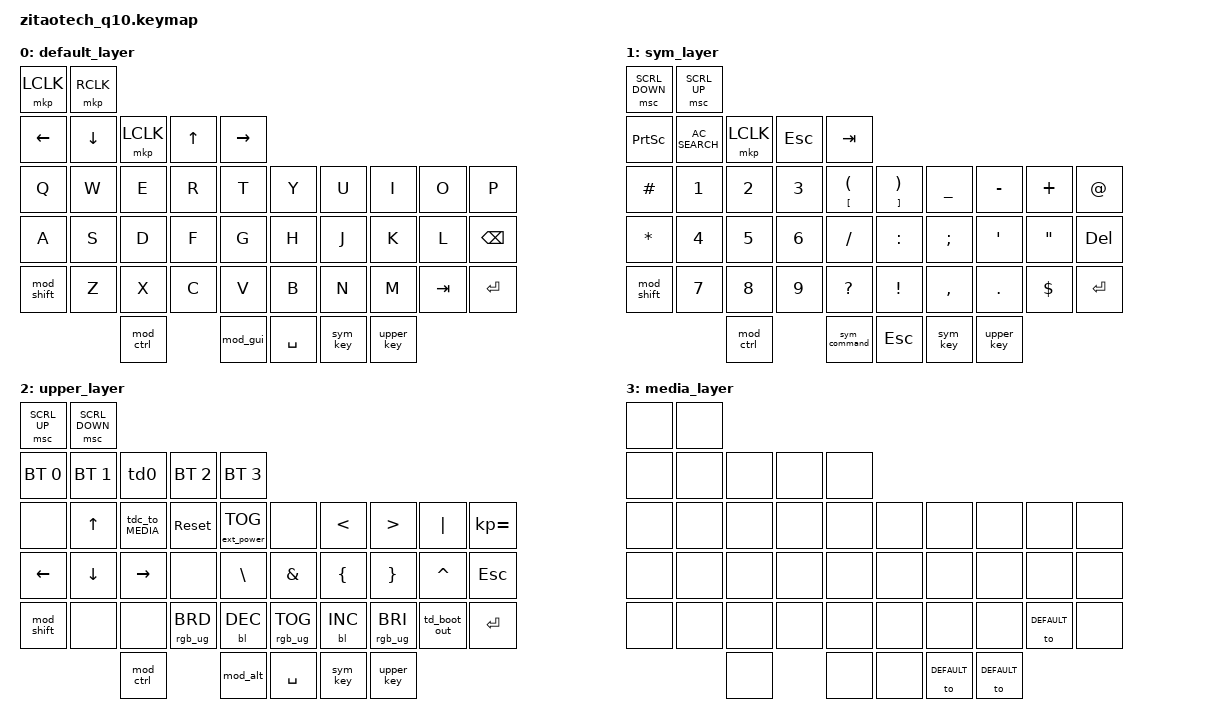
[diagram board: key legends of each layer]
/*
 * Copyright (c) 2023 ZitaoTech
 *
 * SPDX-License-Identifier: MIT
 */

#include <dt-bindings/zmk/mouse.h>
#include <zephyr/dt-bindings/input/input-event-codes.h>
#include <behaviors.dtsi>
#include <dt-bindings/zmk/backlight.h>
#include <dt-bindings/zmk/bt.h>
#include <dt-bindings/zmk/ext_power.h>
#include <dt-bindings/zmk/keys.h>
#include <dt-bindings/zmk/outputs.h>
#include <dt-bindings/zmk/pointing.h>
#include <dt-bindings/zmk/rgb.h>

#define DEFAULT 0
#define SYM 1
#define UPPER 2
#define MEDIA 3

#include "gestures.dtsi"

/ {
    behaviors {
        td0: tap_dance_0 {
            compatible = "zmk,behavior-tap-dance";
            #binding-cells = <0>;
            tapping-term-ms = <400>;
            bindings = <&mkp LCLK>, <&bt BT_CLR>;
        };

        td_boot_out: td_boot_out {
            compatible = "zmk,behavior-tap-dance";
            #binding-cells = <0>;
            tapping-term-ms = <400>;
            bindings = <&bootloader>, <&out OUT_TOG>;
        };

        tdc_to_MEDIA: td_mute_to_layer {
            compatible = "zmk,behavior-tap-dance";
            #binding-cells = <0>;
            tapping-term-ms = <400>;
            bindings = <&kp C_MUTE>, <&to MEDIA>;
        };
    };

    keymap {
        compatible = "zmk,keymap";

        default_layer {
            bindings = <
&mkp LCLK  &mkp RCLK
&kp LEFT   &kp DOWN_ARROW  &mkp LCLK  &kp UP_ARROW  &kp RIGHT_ARROW
&kp Q      &kp W         &kp E      &kp R           &kp T             &kp Y        &kp U             &kp I    &kp O          &kp P
&kp A      &kp S         &kp D      &kp F           &kp G             &kp H        &kp J             &kp K    &kp L          &kp BSPC
&mod_shift  &kp Z         &kp X      &kp C           &kp V             &kp B        &kp N             &kp M    &kp TAB  &kp ENTER
                         &mod_ctrl                  &mod_gui          &kp SPACE    &sym_key        &upper_key
            >;
        };

        sym_layer {
            bindings = <
&msc SCRL_DOWN  &msc SCRL_UP
&kp PSCRN       &kp C_AC_SEARCH  &mkp LCLK  &kp ESC  &kp TAB
&kp HASH        &kp N1           &kp N2     &kp N3   &mt LBKT LPAR  &mt RBKT RPAR    &kp UNDER  &kp MINUS  &kp PLUS       &kp AT
&kp STAR        &kp N4           &kp N5     &kp N6   &kp SLASH      &kp COLON        &kp SEMI   &kp APOS   &kp DQT        &kp DEL
&mod_shift      &kp N7           &kp N8     &kp N9   &kp QMARK      &kp EXCL         &kp COMMA  &kp DOT    &kp DLLR  &kp ENTER
                                 &mod_ctrl           &sym_command   &kp ESC          &sym_key  &upper_key
            >;
        };

        upper_layer {
            bindings = <
&msc SCRL_UP  &msc SCRL_DOWN
&bt BT_SEL 0  &bt BT_SEL 1    &td0       &bt BT_SEL 2     &bt BT_SEL 3
&none         &kp UP          &tdc_to_MEDIA  &sys_reset    &ext_power EP_TOG  &none              &kp LT      &kp GT           &kp PIPE      &kp KP_EQUAL
&kp LEFT      &kp DOWN        &kp RIGHT  &none            &kp BSLH           &kp AMPS           &kp LBRC    &kp RBRC         &kp CARET     &kp ESC
&mod_shift    &none           &none      &rgb_ug RGB_BRD  &bl BL_DEC         &rgb_ug RGB_TOG    &bl BL_INC  &rgb_ug RGB_BRI  &td_boot_out  &kp ENTER
                              &mod_ctrl                   &mod_alt           &kp SPACE          &sym_key  &upper_key
            >;
        };

        media_layer {
            bindings = <
&none  &none
&none  &none  &none  &none  &none
&none  &none  &none  &none  &none  &none    &none        &none        &none        &none
&none  &none  &none  &none  &none  &none    &none        &none        &none        &none
&none  &none  &none  &none  &none  &none    &none        &none        &to DEFAULT  &none
              &none         &none  &none    &to DEFAULT  &to DEFAULT
            >;
        };
    };
};
